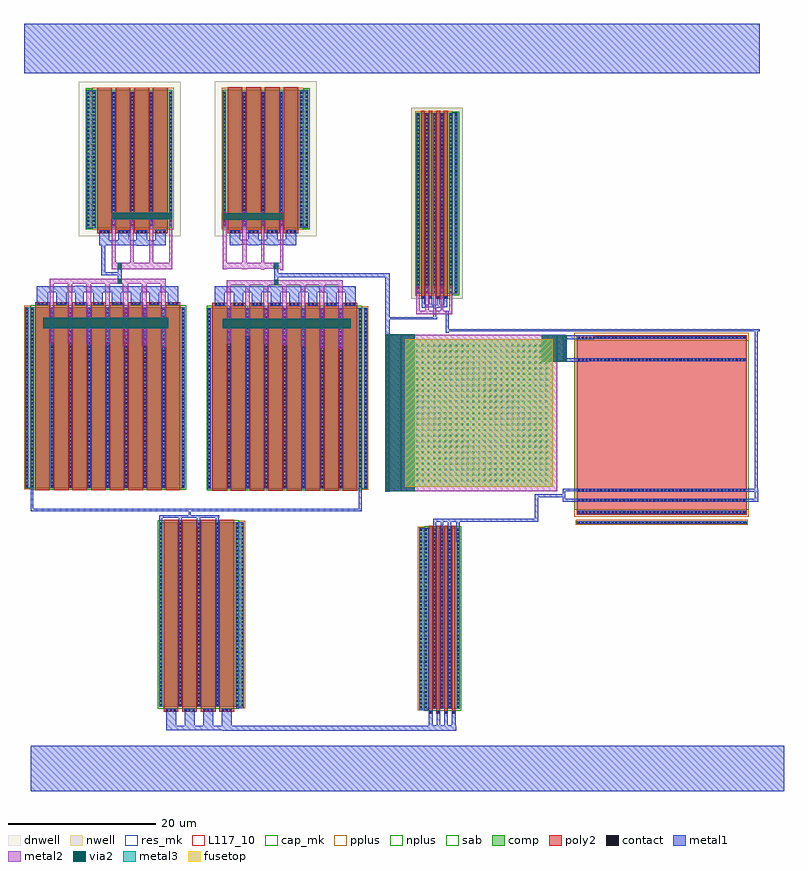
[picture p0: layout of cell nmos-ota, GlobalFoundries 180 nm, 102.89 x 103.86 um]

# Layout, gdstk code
from math import pi, radians
import gdstk
lib = gdstk.Library(unit=1e-6, precision=1e-09)
def R(c, l, rs):  # rectangles x0, y0, x1, y1
    for r in rs: c.add(gdstk.rectangle(r[:2], r[2:], *l))
def A(c, l, x, y, w, h, nx, ny, dx, dy):  # array of equal rectangles
    R(c, l, [(x+i*dx, y+j*dy, x+i*dx+w, y+j*dy+h) for i in range(nx) for j in range(ny)])
dnwell = (12, 0)
nwell = (21, 0)
comp = (22, 0)
poly2 = (30, 0)
pplus = (31, 0)
nplus = (32, 0)
contact = (33, 0)
metal1 = (34, 0)
metal2 = (36, 0)
via2 = (38, 0)
metal3 = (42, 0)
sab = (49, 0)
fusetop = (75, 0)
res_mk = (110, 5)
cap_mk = (117, 5)
L117_10 = (117, 10)

nfet_6 = lib.new_cell('nfet$6')
R(nfet_6, comp, [(-0.42,0,0,25), (0,0,9.94,25), (9.94,0,10.36,25), (10.36,0,11.07,25)])
A(nfet_6, poly2, 0.19, -0.3, 2, 25.6, 4, 1, 2.52, 0)
A(nfet_6, poly2, 0.19, 25.3, 2, 0.36, 4, 1, 2.52, 0)
R(nfet_6, pplus, [(10.36,-0.17,11.24,25.17)])
R(nfet_6, nplus, [(-0.59,-0.24,10.36,25.24)])
A(nfet_6, contact, -0.32, 0.15, 0.22, 0.22, 1, 49, 0, 0.51)
A(nfet_6, contact, 2.34, 0.15, 0.22, 0.22, 3, 49, 2.52, 0.51)
A(nfet_6, contact, 10.04, 0.15, 0.22, 0.22, 1, 49, 0, 0.51)
A(nfet_6, contact, 10.75, 0.15, 0.22, 0.22, 1, 49, 0, 0.51)
A(nfet_6, contact, 0.57, 25.37, 0.22, 0.22, 3, 1, 0.51, 0)
A(nfet_6, contact, 3.09, 25.37, 0.22, 0.22, 3, 1, 0.51, 0)
A(nfet_6, contact, 5.61, 25.37, 0.22, 0.22, 3, 1, 0.51, 0)
A(nfet_6, contact, 8.13, 25.37, 0.22, 0.22, 3, 1, 0.51, 0)
A(nfet_6, metal1, 2.26, 0.07, 0.38, 24.86, 3, 1, 2.52, 0)
A(nfet_6, metal1, 0.49, 25.29, 1.4, 0.38, 4, 1, 2.52, 0)
R(nfet_6, metal1, [(-0.4,0.07,-0.02,24.93), (9.96,0.07,10.34,24.93), (10.67,0.07,11.05,24.93)])

cap_mim_2 = lib.new_cell('cap_mim$2')
R(cap_mim_2, metal2, [(-0.6,-0.6,20.6,20.6)])
A(cap_mim_2, via2, 0.75, 0.75, 0.26, 0.26, 25, 25, 0.76, 0.76)
R(cap_mim_2, metal3, [(0,0,20,20)])
R(cap_mim_2, fusetop, [(0,0,20,20)])
R(cap_mim_2, cap_mk, [(-0.6,-0.6,20.6,20.6)])
R(cap_mim_2, L117_10, [(0,0,20,0.1)])

pfet = lib.new_cell('pfet')
R(pfet, dnwell, [(-1.56,-1.1,12.23,19.85)])
R(pfet, comp, [(-0.46,0,0,18.75), (0,0,9.94,18.75), (9.94,0,10.4,18.75), (10.4,0,11.13,18.75)])
A(pfet, poly2, 0.19, -0.3, 2, 19.35, 4, 1, 2.52, 0)
A(pfet, poly2, 0.19, 19.05, 2, 0.38, 4, 1, 2.52, 0)
R(pfet, pplus, [(-0.63,-0.24,10.4,18.99)])
R(pfet, nplus, [(10.4,-0.17,11.3,18.92)])
A(pfet, contact, -0.34, 0.34, 0.22, 0.22, 1, 36, 0, 0.51)
A(pfet, contact, 2.34, 0.34, 0.22, 0.22, 3, 36, 2.52, 0.51)
A(pfet, contact, 10.06, 0.34, 0.22, 0.22, 1, 36, 0, 0.51)
A(pfet, contact, 10.79, 0.34, 0.22, 0.22, 1, 36, 0, 0.51)
A(pfet, contact, 0.57, 19.13, 0.22, 0.22, 3, 1, 0.51, 0)
A(pfet, contact, 3.09, 19.13, 0.22, 0.22, 3, 1, 0.51, 0)
A(pfet, contact, 5.61, 19.13, 0.22, 0.22, 3, 1, 0.51, 0)
A(pfet, contact, 8.13, 19.13, 0.22, 0.22, 3, 1, 0.51, 0)
A(pfet, metal1, 2.26, 0.26, 0.38, 18.23, 3, 1, 2.52, 0)
A(pfet, metal1, 0.49, 19.05, 1.4, 0.38, 4, 1, 2.52, 0)
R(pfet, metal1, [(-0.42,0.26,-0.04,18.49), (9.98,0.26,10.36,18.49), (10.71,0.26,11.09,18.49)])

pfet_2 = lib.new_cell('pfet$2')
R(pfet_2, dnwell, [(-1.56,-1.1,12.23,19.85)])
R(pfet_2, comp, [(-0.46,0,0,18.75), (0,0,9.94,18.75), (9.94,0,10.4,18.75), (10.4,0,11.13,18.75)])
A(pfet_2, poly2, 0.19, -0.68, 2, 0.38, 4, 1, 2.52, 0)
A(pfet_2, poly2, 0.19, -0.3, 2, 19.35, 4, 1, 2.52, 0)
R(pfet_2, pplus, [(-0.63,-0.24,10.4,18.99)])
R(pfet_2, nplus, [(10.4,-0.17,11.3,18.92)])
A(pfet_2, contact, 0.57, -0.6, 0.22, 0.22, 3, 1, 0.51, 0)
A(pfet_2, contact, 3.09, -0.6, 0.22, 0.22, 3, 1, 0.51, 0)
A(pfet_2, contact, 5.61, -0.6, 0.22, 0.22, 3, 1, 0.51, 0)
A(pfet_2, contact, 8.13, -0.6, 0.22, 0.22, 3, 1, 0.51, 0)
A(pfet_2, contact, -0.34, 0.34, 0.22, 0.22, 1, 36, 0, 0.51)
A(pfet_2, contact, 2.34, 0.34, 0.22, 0.22, 3, 36, 2.52, 0.51)
A(pfet_2, contact, 10.06, 0.34, 0.22, 0.22, 1, 36, 0, 0.51)
A(pfet_2, contact, 10.79, 0.34, 0.22, 0.22, 1, 36, 0, 0.51)
A(pfet_2, metal1, 0.49, -0.68, 1.4, 0.38, 4, 1, 2.52, 0)
A(pfet_2, metal1, 2.26, 0.26, 0.38, 18.23, 3, 1, 2.52, 0)
R(pfet_2, metal1, [(-0.42,0.26,-0.04,18.49), (9.98,0.26,10.36,18.49), (10.71,0.26,11.09,18.49)])

nfet = lib.new_cell('nfet')
R(nfet, comp, [(-0.42,0,0,24.5), (0,0,20.02,24.5), (20.02,0,20.44,24.5), (20.44,0,21.15,24.5)])
A(nfet, poly2, 0.19, -0.66, 2, 0.36, 8, 1, 2.52, 0)
A(nfet, poly2, 0.19, -0.3, 2, 25.1, 8, 1, 2.52, 0)
R(nfet, pplus, [(20.44,-0.17,21.32,24.67)])
R(nfet, nplus, [(-0.59,-0.24,20.44,24.74)])
A(nfet, contact, 0.57, -0.59, 0.22, 0.22, 3, 1, 0.51, 0)
A(nfet, contact, 3.09, -0.59, 0.22, 0.22, 3, 1, 0.51, 0)
A(nfet, contact, 5.61, -0.59, 0.22, 0.22, 3, 1, 0.51, 0)
A(nfet, contact, 8.13, -0.59, 0.22, 0.22, 3, 1, 0.51, 0)
A(nfet, contact, 10.65, -0.59, 0.22, 0.22, 3, 1, 0.51, 0)
A(nfet, contact, 13.17, -0.59, 0.22, 0.22, 3, 1, 0.51, 0)
A(nfet, contact, 15.69, -0.59, 0.22, 0.22, 3, 1, 0.51, 0)
A(nfet, contact, 18.21, -0.59, 0.22, 0.22, 3, 1, 0.51, 0)
A(nfet, contact, -0.32, 0.155, 0.22, 0.22, 1, 48, 0, 0.51)
A(nfet, contact, 2.34, 0.155, 0.22, 0.22, 7, 48, 2.52, 0.51)
A(nfet, contact, 20.12, 0.155, 0.22, 0.22, 1, 48, 0, 0.51)
A(nfet, contact, 20.83, 0.155, 0.22, 0.22, 1, 48, 0, 0.51)
A(nfet, metal1, 0.49, -0.67, 1.4, 0.38, 8, 1, 2.52, 0)
A(nfet, metal1, 2.26, 0.075, 0.38, 24.35, 7, 1, 2.52, 0)
R(nfet, metal1, [(-0.4,0.075,-0.02,24.425), (20.04,0.075,20.42,24.425), (20.75,0.075,21.13,24.425)])

pfet_4 = lib.new_cell('pfet$4')
R(pfet_4, nwell, [(-1.15,-0.69,5.82,25.19)])
R(pfet_4, comp, [(-0.46,0,0,24.5), (0,0,3.94,24.5), (3.94,0,4.4,24.5), (4.4,0,5.13,24.5)])
A(pfet_4, poly2, 0.19, -0.68, 0.5, 0.38, 4, 1, 1.02, 0)
A(pfet_4, poly2, 0.19, -0.3, 0.5, 25.1, 4, 1, 1.02, 0)
R(pfet_4, pplus, [(-0.63,-0.24,4.4,24.74)])
R(pfet_4, nplus, [(4.4,-0.17,5.3,24.67)])
A(pfet_4, contact, 0.33, -0.6, 0.22, 0.22, 4, 1, 1.02, 0)
A(pfet_4, contact, -0.34, 0.155, 0.22, 0.22, 1, 48, 0, 0.51)
A(pfet_4, contact, 0.84, 0.155, 0.22, 0.22, 3, 48, 1.02, 0.51)
A(pfet_4, contact, 4.06, 0.155, 0.22, 0.22, 1, 48, 0, 0.51)
A(pfet_4, contact, 4.79, 0.155, 0.22, 0.22, 1, 48, 0, 0.51)
A(pfet_4, metal1, 0.25, -0.681, 0.38, 0.382, 4, 1, 1.02, 0)
A(pfet_4, metal1, 0.76, 0.075, 0.38, 24.35, 3, 1, 1.02, 0)
R(pfet_4, metal1, [(-0.42,0.075,-0.04,24.425), (3.98,0.075,4.36,24.425), (4.71,0.075,5.09,24.425)])

nfet_3 = lib.new_cell('nfet$3')
R(nfet_3, comp, [(-0.42,0,0,24.5), (0,0,20.02,24.5), (20.02,0,20.44,24.5), (20.44,0,21.15,24.5)])
A(nfet_3, poly2, 0.19, -0.3, 2, 25.1, 8, 1, 2.52, 0)
A(nfet_3, poly2, 0.19, 24.8, 2, 0.36, 8, 1, 2.52, 0)
R(nfet_3, pplus, [(20.44,-0.17,21.32,24.67)])
R(nfet_3, nplus, [(-0.59,-0.24,20.44,24.74)])
A(nfet_3, contact, -0.32, 0.155, 0.22, 0.22, 1, 48, 0, 0.51)
A(nfet_3, contact, 2.34, 0.155, 0.22, 0.22, 7, 48, 2.52, 0.51)
A(nfet_3, contact, 20.12, 0.155, 0.22, 0.22, 1, 48, 0, 0.51)
A(nfet_3, contact, 20.83, 0.155, 0.22, 0.22, 1, 48, 0, 0.51)
A(nfet_3, contact, 0.57, 24.87, 0.22, 0.22, 3, 1, 0.51, 0)
A(nfet_3, contact, 3.09, 24.87, 0.22, 0.22, 3, 1, 0.51, 0)
A(nfet_3, contact, 5.61, 24.87, 0.22, 0.22, 3, 1, 0.51, 0)
A(nfet_3, contact, 8.13, 24.87, 0.22, 0.22, 3, 1, 0.51, 0)
A(nfet_3, contact, 10.65, 24.87, 0.22, 0.22, 3, 1, 0.51, 0)
A(nfet_3, contact, 13.17, 24.87, 0.22, 0.22, 3, 1, 0.51, 0)
A(nfet_3, contact, 15.69, 24.87, 0.22, 0.22, 3, 1, 0.51, 0)
A(nfet_3, contact, 18.21, 24.87, 0.22, 0.22, 3, 1, 0.51, 0)
A(nfet_3, metal1, 2.26, 0.075, 0.38, 24.35, 7, 1, 2.52, 0)
A(nfet_3, metal1, 0.49, 24.79, 1.4, 0.38, 8, 1, 2.52, 0)
R(nfet_3, metal1, [(-0.4,0.075,-0.02,24.425), (20.04,0.075,20.42,24.425), (20.75,0.075,21.13,24.425)])

nfet_7 = lib.new_cell('nfet$7')
R(nfet_7, comp, [(-0.42,0,0,24.5), (0,0,3.94,24.5), (3.94,0,4.36,24.5), (4.36,0,5.07,24.5)])
A(nfet_7, poly2, 0.19, -0.3, 0.5, 25.1, 4, 1, 1.02, 0)
A(nfet_7, poly2, 0.19, 24.8, 0.5, 0.36, 4, 1, 1.02, 0)
R(nfet_7, pplus, [(4.36,-0.17,5.24,24.67)])
R(nfet_7, nplus, [(-0.59,-0.24,4.36,24.74)])
A(nfet_7, contact, -0.32, 0.155, 0.22, 0.22, 1, 48, 0, 0.51)
A(nfet_7, contact, 0.84, 0.155, 0.22, 0.22, 3, 48, 1.02, 0.51)
A(nfet_7, contact, 4.04, 0.155, 0.22, 0.22, 1, 48, 0, 0.51)
A(nfet_7, contact, 4.75, 0.155, 0.22, 0.22, 1, 48, 0, 0.51)
A(nfet_7, contact, 0.33, 24.87, 0.22, 0.22, 4, 1, 1.02, 0)
A(nfet_7, metal1, 0.76, 0.075, 0.38, 24.35, 3, 1, 1.02, 0)
A(nfet_7, metal1, 0.25, 24.789, 0.38, 0.382, 4, 1, 1.02, 0)
R(nfet_7, metal1, [(-0.4,0.075,-0.02,24.425), (3.96,0.075,4.34,24.425), (4.67,0.075,5.05,24.425)])

ppolyf_u_resistor_2 = lib.new_cell('ppolyf_u_resistor$2')
R(ppolyf_u_resistor_2, comp, [(-1.88,0,-1.52,20), (1.12,0,1.48,20), (-1.88,3,-1.52,23), (1.12,3,1.48,23)])
R(ppolyf_u_resistor_2, poly2, [(-0.66,0,20.66,20), (2.34,0,23.66,20), (-0.66,3,20.66,23), (2.34,3,23.66,23)])
R(ppolyf_u_resistor_2, pplus, [(-0.96,-0.3,20.96,20.3), (2.04,-0.3,23.96,20.3), (-2.04,-0.16,-1.36,20.16), (0.96,-0.16,1.64,20.16), (-0.96,2.7,20.96,23.3), (2.04,2.7,23.96,23.3), (-2.04,2.84,-1.36,23.16), (0.96,2.84,1.64,23.16)])
A(ppolyf_u_resistor_2, contact, -1.81, 0.2, 0.22, 0.22, 1, 6, 0, 0.51)
A(ppolyf_u_resistor_2, contact, -0.44, 0.2, 0.22, 0.22, 1, 6, 0, 0.51)
A(ppolyf_u_resistor_2, contact, 1.19, 0.2, 0.22, 0.22, 1, 6, 0, 0.51)
A(ppolyf_u_resistor_2, contact, 2.56, 0.2, 0.22, 0.22, 1, 6, 0, 0.51)
A(ppolyf_u_resistor_2, contact, 20.22, 0.2, 0.22, 0.22, 1, 6, 0, 0.51)
A(ppolyf_u_resistor_2, contact, 23.22, 0.2, 0.22, 0.22, 1, 6, 0, 0.51)
A(ppolyf_u_resistor_2, contact, -1.81, 20.03, 0.22, 0.22, 1, 6, 0, 0.51)
A(ppolyf_u_resistor_2, contact, -0.44, 20.03, 0.22, 0.22, 1, 6, 0, 0.51)
A(ppolyf_u_resistor_2, contact, 1.19, 20.03, 0.22, 0.22, 1, 6, 0, 0.51)
A(ppolyf_u_resistor_2, contact, 2.56, 20.03, 0.22, 0.22, 1, 6, 0, 0.51)
A(ppolyf_u_resistor_2, contact, 20.22, 20.03, 0.22, 0.22, 1, 6, 0, 0.51)
A(ppolyf_u_resistor_2, contact, 23.22, 20.03, 0.22, 0.22, 1, 6, 0, 0.51)
R(ppolyf_u_resistor_2, contact, [(-1.81,3.2,-1.59,3.42), (-0.44,3.2,-0.22,3.42), (1.19,3.2,1.41,3.42), (2.56,3.2,2.78,3.42), (20.22,3.2,20.44,3.42), (23.22,3.2,23.44,3.42), (-1.81,3.26,-1.59,3.48), (-0.44,3.26,-0.22,3.48), (1.19,3.26,1.41,3.48), (2.56,3.26,2.78,3.48), (20.22,3.26,20.44,3.48), (23.22,3.26,23.44,3.48), (-1.81,3.71,-1.59,3.93), (-0.44,3.71,-0.22,3.93), (1.19,3.71,1.41,3.93), (2.56,3.71,2.78,3.93), (20.22,3.71,20.44,3.93), (23.22,3.71,23.44,3.93), (-1.81,3.77,-1.59,3.99), (-0.44,3.77,-0.22,3.99), (1.19,3.77,1.41,3.99), (2.56,3.77,2.78,3.99), (20.22,3.77,20.44,3.99), (23.22,3.77,23.44,3.99), (-1.81,4.22,-1.59,4.44), (-0.44,4.22,-0.22,4.44), (1.19,4.22,1.41,4.44), (2.56,4.22,2.78,4.44), (20.22,4.22,20.44,4.44), (23.22,4.22,23.44,4.44), (-1.81,4.28,-1.59,4.5), (-0.44,4.28,-0.22,4.5), (1.19,4.28,1.41,4.5), (2.56,4.28,2.78,4.5), (20.22,4.28,20.44,4.5), (23.22,4.28,23.44,4.5), (-1.81,4.73,-1.59,4.95), (-0.44,4.73,-0.22,4.95), (1.19,4.73,1.41,4.95), (2.56,4.73,2.78,4.95), (20.22,4.73,20.44,4.95), (23.22,4.73,23.44,4.95), (-1.81,4.79,-1.59,5.01), (-0.44,4.79,-0.22,5.01), (1.19,4.79,1.41,5.01), (2.56,4.79,2.78,5.01), (20.22,4.79,20.44,5.01), (23.22,4.79,23.44,5.01), (-1.81,5.24,-1.59,5.46), (-0.44,5.24,-0.22,5.46), (1.19,5.24,1.41,5.46), (2.56,5.24,2.78,5.46), (20.22,5.24,20.44,5.46), (23.22,5.24,23.44,5.46), (-1.81,5.3,-1.59,5.52), (-0.44,5.3,-0.22,5.52), (1.19,5.3,1.41,5.52), (2.56,5.3,2.78,5.52), (20.22,5.3,20.44,5.52), (23.22,5.3,23.44,5.52), (-1.81,5.75,-1.59,5.97), (-0.44,5.75,-0.22,5.97), (1.19,5.75,1.41,5.97), (2.56,5.75,2.78,5.97), (20.22,5.75,20.44,5.97), (23.22,5.75,23.44,5.97), (-1.81,5.81,-1.59,6.03), (-0.44,5.81,-0.22,6.03), (1.19,5.81,1.41,6.03), (2.56,5.81,2.78,6.03), (20.22,5.81,20.44,6.03), (23.22,5.81,23.44,6.03), (-1.81,6.26,-1.59,6.48), (-0.44,6.26,-0.22,6.48), (1.19,6.26,1.41,6.48), (2.56,6.26,2.78,6.48), (20.22,6.26,20.44,6.48), (23.22,6.26,23.44,6.48), (-1.81,6.32,-1.59,6.54), (-0.44,6.32,-0.22,6.54), (1.19,6.32,1.41,6.54), (2.56,6.32,2.78,6.54), (20.22,6.32,20.44,6.54), (23.22,6.32,23.44,6.54), (-1.81,6.77,-1.59,6.99), (-0.44,6.77,-0.22,6.99), (1.19,6.77,1.41,6.99), (2.56,6.77,2.78,6.99), (20.22,6.77,20.44,6.99), (23.22,6.77,23.44,6.99), (-1.81,6.83,-1.59,7.05), (-0.44,6.83,-0.22,7.05), (1.19,6.83,1.41,7.05), (2.56,6.83,2.78,7.05), (20.22,6.83,20.44,7.05), (23.22,6.83,23.44,7.05), (-1.81,7.28,-1.59,7.5), (-0.44,7.28,-0.22,7.5), (1.19,7.28,1.41,7.5), (2.56,7.28,2.78,7.5), (20.22,7.28,20.44,7.5), (23.22,7.28,23.44,7.5), (-1.81,7.34,-1.59,7.56), (-0.44,7.34,-0.22,7.56), (1.19,7.34,1.41,7.56), (2.56,7.34,2.78,7.56), (20.22,7.34,20.44,7.56), (23.22,7.34,23.44,7.56), (-1.81,7.79,-1.59,8.01), (-0.44,7.79,-0.22,8.01), (1.19,7.79,1.41,8.01), (2.56,7.79,2.78,8.01), (20.22,7.79,20.44,8.01), (23.22,7.79,23.44,8.01), (-1.81,7.85,-1.59,8.07), (-0.44,7.85,-0.22,8.07), (1.19,7.85,1.41,8.07), (2.56,7.85,2.78,8.07), (20.22,7.85,20.44,8.07), (23.22,7.85,23.44,8.07), (-1.81,8.3,-1.59,8.52), (-0.44,8.3,-0.22,8.52), (1.19,8.3,1.41,8.52), (2.56,8.3,2.78,8.52), (20.22,8.3,20.44,8.52), (23.22,8.3,23.44,8.52), (-1.81,8.36,-1.59,8.58), (-0.44,8.36,-0.22,8.58), (1.19,8.36,1.41,8.58), (2.56,8.36,2.78,8.58), (20.22,8.36,20.44,8.58), (23.22,8.36,23.44,8.58), (-1.81,8.81,-1.59,9.03), (-0.44,8.81,-0.22,9.03), (1.19,8.81,1.41,9.03), (2.56,8.81,2.78,9.03), (20.22,8.81,20.44,9.03), (23.22,8.81,23.44,9.03), (-1.81,8.87,-1.59,9.09), (-0.44,8.87,-0.22,9.09), (1.19,8.87,1.41,9.09), (2.56,8.87,2.78,9.09), (20.22,8.87,20.44,9.09), (23.22,8.87,23.44,9.09), (-1.81,9.32,-1.59,9.54), (-0.44,9.32,-0.22,9.54), (1.19,9.32,1.41,9.54), (2.56,9.32,2.78,9.54), (20.22,9.32,20.44,9.54), (23.22,9.32,23.44,9.54), (-1.81,9.38,-1.59,9.6), (-0.44,9.38,-0.22,9.6), (1.19,9.38,1.41,9.6), (2.56,9.38,2.78,9.6), (20.22,9.38,20.44,9.6), (23.22,9.38,23.44,9.6), (-1.81,9.83,-1.59,10.05), (-0.44,9.83,-0.22,10.05), (1.19,9.83,1.41,10.05), (2.56,9.83,2.78,10.05), (20.22,9.83,20.44,10.05), (23.22,9.83,23.44,10.05), (-1.81,9.89,-1.59,10.11), (-0.44,9.89,-0.22,10.11), (1.19,9.89,1.41,10.11), (2.56,9.89,2.78,10.11), (20.22,9.89,20.44,10.11), (23.22,9.89,23.44,10.11), (-1.81,10.34,-1.59,10.56), (-0.44,10.34,-0.22,10.56), (1.19,10.34,1.41,10.56), (2.56,10.34,2.78,10.56), (20.22,10.34,20.44,10.56), (23.22,10.34,23.44,10.56), (-1.81,10.4,-1.59,10.62), (-0.44,10.4,-0.22,10.62), (1.19,10.4,1.41,10.62), (2.56,10.4,2.78,10.62), (20.22,10.4,20.44,10.62), (23.22,10.4,23.44,10.62), (-1.81,10.85,-1.59,11.07), (-0.44,10.85,-0.22,11.07), (1.19,10.85,1.41,11.07), (2.56,10.85,2.78,11.07), (20.22,10.85,20.44,11.07), (23.22,10.85,23.44,11.07), (-1.81,10.91,-1.59,11.13), (-0.44,10.91,-0.22,11.13), (1.19,10.91,1.41,11.13), (2.56,10.91,2.78,11.13), (20.22,10.91,20.44,11.13), (23.22,10.91,23.44,11.13), (-1.81,11.36,-1.59,11.58), (-0.44,11.36,-0.22,11.58), (1.19,11.36,1.41,11.58), (2.56,11.36,2.78,11.58), (20.22,11.36,20.44,11.58), (23.22,11.36,23.44,11.58), (-1.81,11.42,-1.59,11.64), (-0.44,11.42,-0.22,11.64), (1.19,11.42,1.41,11.64), (2.56,11.42,2.78,11.64), (20.22,11.42,20.44,11.64), (23.22,11.42,23.44,11.64), (-1.81,11.87,-1.59,12.09), (-0.44,11.87,-0.22,12.09), (1.19,11.87,1.41,12.09), (2.56,11.87,2.78,12.09), (20.22,11.87,20.44,12.09), (23.22,11.87,23.44,12.09), (-1.81,11.93,-1.59,12.15), (-0.44,11.93,-0.22,12.15), (1.19,11.93,1.41,12.15), (2.56,11.93,2.78,12.15), (20.22,11.93,20.44,12.15), (23.22,11.93,23.44,12.15), (-1.81,12.38,-1.59,12.6), (-0.44,12.38,-0.22,12.6), (1.19,12.38,1.41,12.6), (2.56,12.38,2.78,12.6), (20.22,12.38,20.44,12.6), (23.22,12.38,23.44,12.6), (-1.81,12.44,-1.59,12.66), (-0.44,12.44,-0.22,12.66), (1.19,12.44,1.41,12.66), (2.56,12.44,2.78,12.66), (20.22,12.44,20.44,12.66), (23.22,12.44,23.44,12.66), (-1.81,12.89,-1.59,13.11), (-0.44,12.89,-0.22,13.11), (1.19,12.89,1.41,13.11), (2.56,12.89,2.78,13.11), (20.22,12.89,20.44,13.11), (23.22,12.89,23.44,13.11), (-1.81,12.95,-1.59,13.17), (-0.44,12.95,-0.22,13.17), (1.19,12.95,1.41,13.17), (2.56,12.95,2.78,13.17), (20.22,12.95,20.44,13.17), (23.22,12.95,23.44,13.17), (-1.81,13.4,-1.59,13.62), (-0.44,13.4,-0.22,13.62), (1.19,13.4,1.41,13.62), (2.56,13.4,2.78,13.62), (20.22,13.4,20.44,13.62), (23.22,13.4,23.44,13.62), (-1.81,13.46,-1.59,13.68), (-0.44,13.46,-0.22,13.68), (1.19,13.46,1.41,13.68), (2.56,13.46,2.78,13.68), (20.22,13.46,20.44,13.68), (23.22,13.46,23.44,13.68), (-1.81,13.91,-1.59,14.13), (-0.44,13.91,-0.22,14.13), (1.19,13.91,1.41,14.13), (2.56,13.91,2.78,14.13), (20.22,13.91,20.44,14.13), (23.22,13.91,23.44,14.13), (-1.81,13.97,-1.59,14.19), (-0.44,13.97,-0.22,14.19), (1.19,13.97,1.41,14.19), (2.56,13.97,2.78,14.19), (20.22,13.97,20.44,14.19), (23.22,13.97,23.44,14.19), (-1.81,14.42,-1.59,14.64), (-0.44,14.42,-0.22,14.64), (1.19,14.42,1.41,14.64), (2.56,14.42,2.78,14.64), (20.22,14.42,20.44,14.64), (23.22,14.42,23.44,14.64), (-1.81,14.48,-1.59,14.7), (-0.44,14.48,-0.22,14.7), (1.19,14.48,1.41,14.7), (2.56,14.48,2.78,14.7), (20.22,14.48,20.44,14.7), (23.22,14.48,23.44,14.7), (-1.81,14.93,-1.59,15.15), (-0.44,14.93,-0.22,15.15), (1.19,14.93,1.41,15.15), (2.56,14.93,2.78,15.15), (20.22,14.93,20.44,15.15), (23.22,14.93,23.44,15.15), (-1.81,14.99,-1.59,15.21), (-0.44,14.99,-0.22,15.21), (1.19,14.99,1.41,15.21), (2.56,14.99,2.78,15.21), (20.22,14.99,20.44,15.21), (23.22,14.99,23.44,15.21), (-1.81,15.44,-1.59,15.66), (-0.44,15.44,-0.22,15.66), (1.19,15.44,1.41,15.66), (2.56,15.44,2.78,15.66), (20.22,15.44,20.44,15.66), (23.22,15.44,23.44,15.66), (-1.81,15.5,-1.59,15.72), (-0.44,15.5,-0.22,15.72), (1.19,15.5,1.41,15.72), (2.56,15.5,2.78,15.72), (20.22,15.5,20.44,15.72), (23.22,15.5,23.44,15.72), (-1.81,15.95,-1.59,16.17), (-0.44,15.95,-0.22,16.17), (1.19,15.95,1.41,16.17), (2.56,15.95,2.78,16.17), (20.22,15.95,20.44,16.17), (23.22,15.95,23.44,16.17), (-1.81,16.01,-1.59,16.23), (-0.44,16.01,-0.22,16.23), (1.19,16.01,1.41,16.23), (2.56,16.01,2.78,16.23), (20.22,16.01,20.44,16.23), (23.22,16.01,23.44,16.23), (-1.81,16.46,-1.59,16.68), (-0.44,16.46,-0.22,16.68), (1.19,16.46,1.41,16.68), (2.56,16.46,2.78,16.68), (20.22,16.46,20.44,16.68), (23.22,16.46,23.44,16.68), (-1.81,16.52,-1.59,16.74), (-0.44,16.52,-0.22,16.74), (1.19,16.52,1.41,16.74), (2.56,16.52,2.78,16.74), (20.22,16.52,20.44,16.74), (23.22,16.52,23.44,16.74), (-1.81,16.97,-1.59,17.19), (-0.44,16.97,-0.22,17.19), (1.19,16.97,1.41,17.19), (2.56,16.97,2.78,17.19), (20.22,16.97,20.44,17.19), (23.22,16.97,23.44,17.19), (-1.81,17.03,-1.59,17.25), (-0.44,17.03,-0.22,17.25), (1.19,17.03,1.41,17.25), (2.56,17.03,2.78,17.25), (20.22,17.03,20.44,17.25), (23.22,17.03,23.44,17.25), (-1.81,17.48,-1.59,17.7), (-0.44,17.48,-0.22,17.7), (1.19,17.48,1.41,17.7), (2.56,17.48,2.78,17.7), (20.22,17.48,20.44,17.7), (23.22,17.48,23.44,17.7), (-1.81,17.54,-1.59,17.76), (-0.44,17.54,-0.22,17.76), (1.19,17.54,1.41,17.76), (2.56,17.54,2.78,17.76), (20.22,17.54,20.44,17.76), (23.22,17.54,23.44,17.76), (-1.81,17.99,-1.59,18.21), (-0.44,17.99,-0.22,18.21), (1.19,17.99,1.41,18.21), (2.56,17.99,2.78,18.21), (20.22,17.99,20.44,18.21), (23.22,17.99,23.44,18.21), (-1.81,18.05,-1.59,18.27), (-0.44,18.05,-0.22,18.27), (1.19,18.05,1.41,18.27), (2.56,18.05,2.78,18.27), (20.22,18.05,20.44,18.27), (23.22,18.05,23.44,18.27), (-1.81,18.5,-1.59,18.72), (-0.44,18.5,-0.22,18.72), (1.19,18.5,1.41,18.72), (2.56,18.5,2.78,18.72), (20.22,18.5,20.44,18.72), (23.22,18.5,23.44,18.72), (-1.81,18.56,-1.59,18.78), (-0.44,18.56,-0.22,18.78), (1.19,18.56,1.41,18.78), (2.56,18.56,2.78,18.78), (20.22,18.56,20.44,18.78), (23.22,18.56,23.44,18.78), (-1.81,19.01,-1.59,19.23), (-0.44,19.01,-0.22,19.23), (1.19,19.01,1.41,19.23), (2.56,19.01,2.78,19.23), (20.22,19.01,20.44,19.23), (23.22,19.01,23.44,19.23), (-1.81,19.07,-1.59,19.29), (-0.44,19.07,-0.22,19.29), (1.19,19.07,1.41,19.29), (2.56,19.07,2.78,19.29), (20.22,19.07,20.44,19.29), (23.22,19.07,23.44,19.29), (-1.81,19.52,-1.59,19.74), (-0.44,19.52,-0.22,19.74), (1.19,19.52,1.41,19.74), (2.56,19.52,2.78,19.74), (20.22,19.52,20.44,19.74), (23.22,19.52,23.44,19.74), (-1.81,19.58,-1.59,19.8), (-0.44,19.58,-0.22,19.8), (1.19,19.58,1.41,19.8), (2.56,19.58,2.78,19.8), (20.22,19.58,20.44,19.8), (23.22,19.58,23.44,19.8)])
R(ppolyf_u_resistor_2, metal1, [(-1.89,0.12,-1.51,19.88), (-0.52,0.12,-0.14,19.88), (1.11,0.12,1.49,19.88), (2.48,0.12,2.86,19.88), (20.14,0.12,20.52,19.88), (23.14,0.12,23.52,19.88), (-1.89,3.12,-1.51,22.88), (-0.52,3.12,-0.14,22.88), (1.11,3.12,1.49,22.88), (2.48,3.12,2.86,22.88), (20.14,3.12,20.52,22.88), (23.14,3.12,23.52,22.88)])
R(ppolyf_u_resistor_2, sab, [(0,-0.28,20,20.28), (3,-0.28,23,20.28), (0,2.72,20,23.28), (3,2.72,23,23.28)])
R(ppolyf_u_resistor_2, res_mk, [(0,0,20,20), (3,0,23,20), (0,3,20,23), (3,3,23,23)])

nmos_ota = lib.new_cell('nmos-ota')
R(nmos_ota, metal1, [(-13.56,-37.52,88.415,-31.39), (12.455,-29.39,44.065,-28.695), (4.755,-29.305,6.12,-26.35), (4.755,-29.3,13.62,-28.695), (9.755,-29.3,11.17,-26.4), (12.275,-29.3,13.665,-26.35), (7.28,-29.285,8.625,-26.4), (42.385,-29.05,42.905,-26.69), (40.305,-29.01,40.845,-26.645), (40.305,-28.955,43.94,-28.605), (41.4,-28.955,41.865,-26.645), (43.425,-28.955,43.94,-26.705), (39.025,-26.585,40.345,-1.945), (14.24,-26.28,15.255,-1.11), (41.94,-4.155,42.315,-0.705), (42.885,-3.82,43.335,-0.725), (44.015,-3.745,44.515,-0.685), (40.915,-3.23,41.325,-0.63), (11.495,-1.685,11.905,-0.21), (8.935,-1.655,9.385,-0.21), (6.44,-1.57,6.865,-0.21), (3.825,-1.445,4.22,-0.21), (40.915,-1.07,55.095,-0.63), (54.695,-1.07,55.16,2.635), (3.895,-0.525,11.98,-0.21), (7.815,-0.525,8.125,0.69), (30.87,0.335,31.24,4.94), (-13.57,0.36,-13.245,4.94), (-13.57,0.38,31.24,0.69), (58.47,1.635,58.81,3.36), (58.51,1.635,61.465,2.025), (82.75,1.635,84.96,2.035), (84.485,1.635,84.92,3.405), (54.695,2.235,58.81,2.635), (34.425,3.02,35.015,32.575), (82.69,3.03,84.96,3.405), (58.47,3.035,61.45,3.405), (84.485,3.085,84.885,24.98), (58.495,20.6,58.955,24.205), (58.495,20.615,61.96,21.065), (58.455,23.655,62.625,24.205), (42.605,24.535,43.005,27.54), (42.605,24.735,85.115,24.98), (34.425,26.345,41.445,26.625), (40.945,26.345,41.345,28.31), (41.405,27.905,41.835,29.415), (39.365,27.925,39.785,29.45), (39.365,27.96,42.83,28.31), (40.325,27.96,40.765,29.45), (42.365,27.96,42.83,29.465), (18.925,28.225,20.25,30.82), (21.45,28.225,22.755,30.82), (16.36,28.24,17.735,30.795), (11.32,28.265,12.715,30.795), (13.92,28.295,15.185,30.805), (24,28.295,25.24,30.76), (26.52,28.295,27.85,30.805), (29.04,28.295,30.425,30.795), (-12.745,28.3,-11.205,30.845), (4.98,28.345,6.38,30.81), (-2.58,28.36,-1.3,30.83), (-10.14,28.38,-8.72,30.845), (-7.54,28.38,-6.4,30.905), (-5.1,28.38,-3.785,30.83), (-0.06,28.4,1.315,30.845), (2.46,28.4,3.86,30.83), (-12.745,29.995,6.38,30.83), (11.32,29.995,30.425,30.795), (19.39,30.955,19.925,34.005), (-1.805,31.195,-1.275,33.99), (19.39,32.06,35.035,32.575), (-4.015,32.315,-1.275,32.72), (-4.015,32.335,-3.485,37.075), (0.735,36.33,2.185,38.38), (-4.29,36.35,-2.915,38.38), (-1.73,36.35,-0.245,38.38), (15.91,36.35,17.28,38.395), (18.375,36.35,19.9,38.455), (-4.29,36.37,4.69,37.075), (3.28,36.37,4.69,38.44), (13.385,36.37,14.78,38.395), (20.975,36.385,22.385,38.455), (13.385,36.425,22.385,37.09), (-5.965,38.68,-4.78,57.27), (22.845,38.84,24.035,57.27), (-14.48,59.68,85.14,66.335)])
R(nmos_ota, metal2, [(34.425,3.045,38.285,24.325), (55.645,20.6,58.91,24.245), (28.08,22.37,28.66,31.51), (25.475,22.47,26.14,31.51), (4.02,22.57,4.68,31.7), (22.965,22.7,23.62,31.51), (1.485,22.75,2.16,31.7), (-1.085,22.79,-0.36,31.81), (20.46,22.9,21.1,31.545), (-6.085,22.97,-5.4,31.7), (-3.48,22.97,-2.88,31.59), (17.885,23.03,18.58,31.61), (-8.585,23.075,-7.92,31.77), (12.97,23.075,13.54,31.665), (-10.975,23.115,-10.44,31.845), (15.47,24.09,16.06,31.59), (41.915,27.015,42.315,30.79), (38.655,27.025,43.515,27.54), (43.095,27.025,43.515,30.73), (39.875,27.03,40.29,30.8), (38.655,27.05,39.1,30.8), (40.895,27.05,41.27,30.805), (12.97,30.955,28.66,31.645), (-10.975,31.195,4.68,31.845), (20.205,32.985,20.65,40.87), (17.615,33.06,18.08,40.92), (-2.585,33.13,5.625,33.99), (5.165,33.13,5.625,40.825), (12.445,33.13,12.96,40.825), (15.095,33.155,15.7,40.92), (12.445,33.16,20.65,34.005), (2.455,33.18,3.005,40.85), (-2.585,33.205,-2.09,40.85), (-0.065,33.25,0.41,40.825)])
R(nmos_ota, via2, [(34.425,3.045,38.39,24.325), (55.645,20.615,58.975,24.21), (12.455,25.12,29.74,26.395), (-11.84,25.16,5.075,26.56), (19.39,30.955,19.955,31.685), (-1.82,31.195,-1.27,31.845), (-1.805,33.14,-1.275,33.95), (19.365,33.16,19.93,34.005), (12.445,39.84,20.585,40.705), (-2.585,39.91,5.585,40.75)])
r = gdstk.Reference(nfet_6, (4.225,-1.11), x_reflection=True); r.repetition = gdstk.Repetition(1, 1, v1=(0,0), v2=(0,0)); nmos_ota.add(r)
r = gdstk.Reference(cap_mim_2, (57.125,3.645), rotation=pi, x_reflection=True); r.repetition = gdstk.Repetition(1, 1, v1=(0,0), v2=(0,0)); nmos_ota.add(r)
nmos_ota.add(gdstk.Reference(pfet, (5.165,57.43), rotation=pi))
nmos_ota.add(gdstk.Reference(pfet_2, (12.905,38.695)))
nmos_ota.add(gdstk.Reference(nfet, (6.87,28), rotation=pi))
nmos_ota.add(gdstk.Reference(pfet_4, (39.115,29.8)))
nmos_ota.add(gdstk.Reference(nfet_3, (10.83,3.425)))
nmos_ota.add(gdstk.Reference(nfet_7, (44.095,-1.905), rotation=pi))
r = gdstk.Reference(ppolyf_u_resistor_2, (60.35,0.545), rotation=pi/2, x_reflection=True); r.repetition = gdstk.Repetition(1, 1, v1=(0,0), v2=(0,0)); nmos_ota.add(r)

lib.write_gds('nmos-ota.gds')
